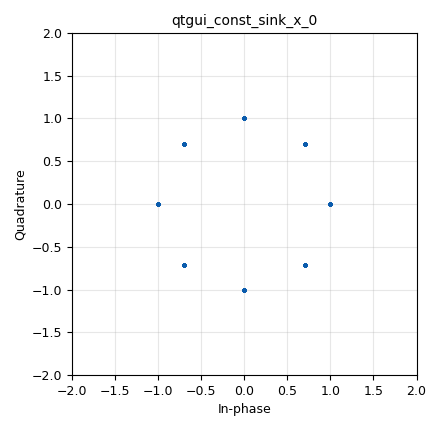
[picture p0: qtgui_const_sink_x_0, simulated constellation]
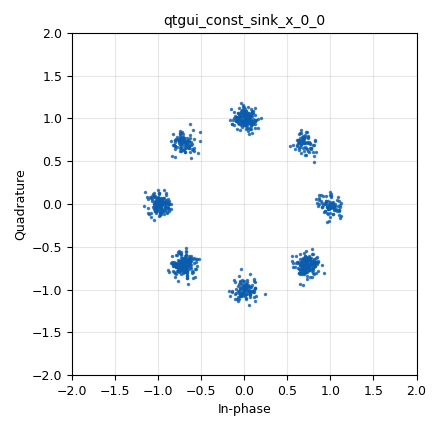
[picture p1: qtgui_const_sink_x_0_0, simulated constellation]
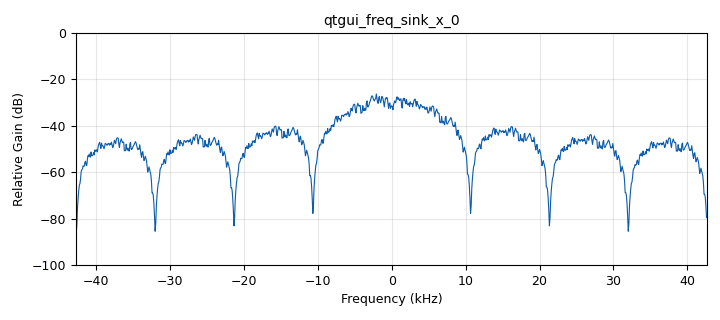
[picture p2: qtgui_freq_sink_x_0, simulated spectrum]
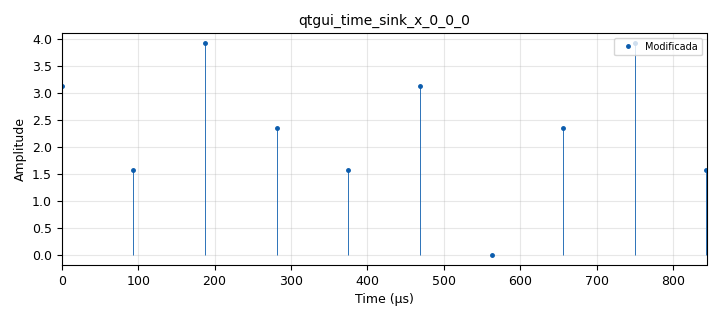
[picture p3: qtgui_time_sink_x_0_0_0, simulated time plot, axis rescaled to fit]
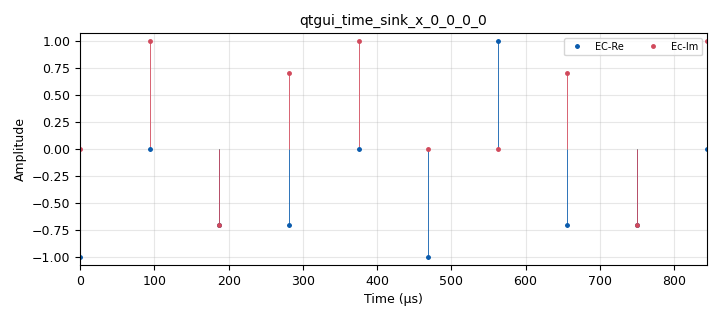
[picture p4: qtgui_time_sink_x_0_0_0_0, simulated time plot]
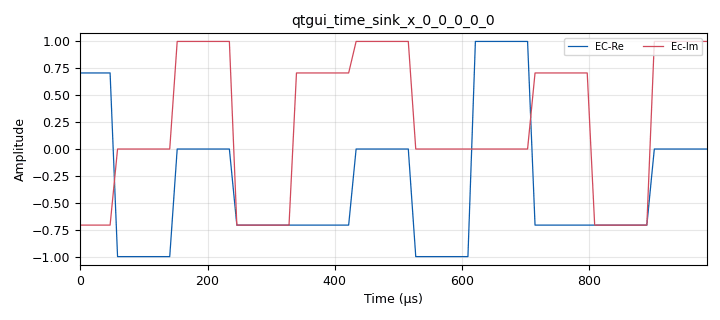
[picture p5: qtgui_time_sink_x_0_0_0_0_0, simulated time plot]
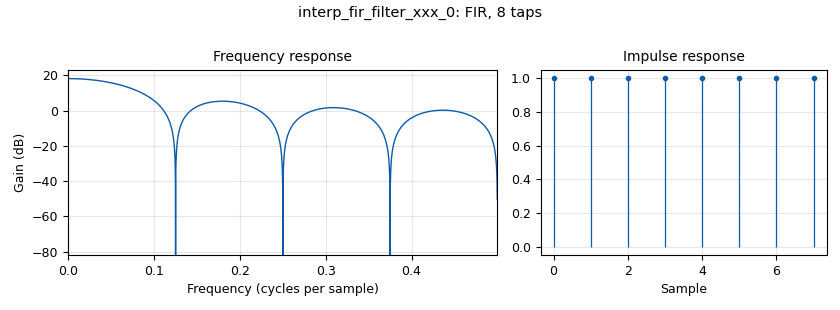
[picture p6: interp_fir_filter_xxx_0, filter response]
options:
  parameters:
    generate_options: qt_gui
    id: Practica_4
    output_language: python
    title: Not titled yet
  states: {}

blocks:
- name: M
  id: variable
  parameters:
    value: '8'
  states: {}
- name: N
  id: variable
  parameters:
    value: '1024'
  states: {}
- name: Nbps
  id: variable
  parameters:
    value: int(math.log(M,2))
  states: {}
- name: Rb
  id: variable
  parameters:
    value: '32000'
  states: {}
- name: Rs
  id: variable
  parameters:
    value: Rb/Nbps
  states: {}
- name: Sps
  id: variable
  parameters:
    value: len(h)
  states: {}
- name: h
  id: variable
  parameters:
    value: np.ones(8)
  states: {}
- name: samp_rate
  id: variable
  parameters:
    value: Rs*Sps
  states: {}
- name: analog_const_source_x_0
  id: analog_const_source_x
  parameters:
    const: '1.'
    type: float
  states: {}
- name: analog_noise_source_x_0
  id: analog_noise_source_x
  parameters:
    amp: '0.1'
    noise_type: analog.GR_GAUSSIAN
    seed: '0'
    type: complex
  states: {}
- name: analog_random_source_x_0
  id: analog_random_source_x
  parameters:
    max: '2'
    min: '0'
    num_samps: '1000'
    repeat: 'True'
    type: byte
  states: {}
- name: blocks_add_xx_0
  id: blocks_add_xx
  parameters:
    type: complex
  states: {}
- name: blocks_char_to_float_0
  id: blocks_char_to_float
  parameters:
    scale: '1'
  states: {state: disabled}
- name: blocks_char_to_float_0_0
  id: blocks_char_to_float
  parameters:
    scale: '1'
  states: {state: disabled}
- name: blocks_char_to_float_1
  id: blocks_char_to_float
  parameters:
    scale: '1'
  states: {}
- name: blocks_complex_to_mag_0
  id: blocks_complex_to_mag
  parameters:
    vlen: '1024'
  states: {}
- name: blocks_multiply_const_vxx_0
  id: blocks_multiply_const_vxx
  parameters:
    const: 2*(math.pi/M)
    type: float
  states: {}
- name: blocks_multiply_xx_0
  id: blocks_multiply_xx
  parameters:
    type: float
    vlen: '1024'
  states: {}
- name: blocks_repack_bits_bb_0
  id: blocks_repack_bits_bb
  parameters:
    endianness: gr.GR_LSB_FIRST
    k: '1'
    l: Nbps
  states: {}
- name: blocks_stream_to_vector_0
  id: blocks_stream_to_vector
  parameters:
    num_items: '1024'
    type: complex
  states: {}
- name: epy_block_0
  id: epy_block
  parameters:
    _source_code: |
      """
      Embedded Python Blocks:

      Each time this file is saved, GRC will instantiate the first class it finds
      to get ports and parameters of your block. The arguments to __init__  will
      be the parameters. All of them are required to have default values!
      """

      import numpy as np
      from gnuradio import gr


      class blk(gr.sync_block):  # other base classes are basic_block, decim_block, interp_block
          """Embedded Python Block example - a simple multiply const"""

          def __init__(self, example_param=1.0):  # only default arguments here
              """arguments to this function show up as parameters in GRC"""
              gr.sync_block.__init__(
                  self,
                  name='e_VCO_fase_fc',   # will show up in GRC
                  in_sig=[np.float32, np.float32],
                  out_sig=[np.complex64]
              )
              # if an attribute with the same name as a parameter is found,
              # a callback is registered (properties work, too).
              self.example_param = example_param

          def work(self, input_items, output_items):
              Q=input_items[0]
              A=input_items[1]
              Sec=output_items[0]
              Sec[:]= A*np.exp(1.j*Q)
              return len(Sec)
    example_param: '1.0'
  states: {}
- name: fft_vxx_0
  id: fft_vxx
  parameters:
    fft_size: '1024'
    forward: 'True'
    shift: 'True'
    type: complex
    window: '[1]*1024'
  states: {}
- name: import_0
  id: import
  parameters:
    imports: import math
  states: {}
- name: import_0_0
  id: import
  parameters:
    imports: import numpy as np
  states: {}
- name: interp_fir_filter_xxx_0
  id: interp_fir_filter_xxx
  parameters:
    interp: Sps
    taps: h
    type: ccc
  states: {}
- name: qtgui_const_sink_x_0
  id: qtgui_const_sink_x
  parameters:
    size: '1024'
    type: complex
  states: {}
- name: qtgui_const_sink_x_0_0
  id: qtgui_const_sink_x
  parameters:
    size: '1024'
    type: complex
  states: {}
- name: qtgui_freq_sink_x_0
  id: qtgui_freq_sink_x
  parameters:
    average: '0.05'
    bw: samp_rate
    fc: '0'
    fftsize: '1024'
    type: complex
    ymax: '0'
    ymin: '-100'
  states: {}
- name: qtgui_time_sink_x_0
  id: qtgui_time_sink_x
  parameters:
    color1: red
    label1: Binaria
    marker1: '0'
    size: '32'
    srate: Rb
    stemplot: 'True'
    type: float
    width1: '3'
  states: {state: disabled}
- name: qtgui_time_sink_x_0_0
  id: qtgui_time_sink_x
  parameters:
    color1: green
    label1: Repack
    marker1: '0'
    size: int(32/Nbps)
    srate: Rs
    stemplot: 'True'
    type: float
    width1: '3'
  states: {state: disabled}
- name: qtgui_time_sink_x_0_0_0
  id: qtgui_time_sink_x
  parameters:
    color1: green
    label1: Modificada
    marker1: '0'
    size: int(32/Nbps)
    srate: Rs
    stemplot: 'True'
    type: float
    width1: '3'
  states: {}
- name: qtgui_time_sink_x_0_0_0_0
  id: qtgui_time_sink_x
  parameters:
    label1: EC-Re
    label2: Ec-Im
    marker1: '0'
    marker2: '0'
    size: int(32/Nbps)
    srate: Rs
    stemplot: 'True'
    type: complex
    width1: '3'
    width2: '3'
  states: {}
- name: qtgui_time_sink_x_0_0_0_0_0
  id: qtgui_time_sink_x
  parameters:
    label1: EC-Re
    label2: Ec-Im
    size: int(32*Sps/Nbps)
    srate: samp_rate
    type: complex
    width1: '3'
    width2: '3'
  states: {}
- name: qtgui_vector_sink_f_0
  id: qtgui_vector_sink_f
  parameters:
    vlen: '1024'
    x_start: '-samp_rate/2'
    x_step: samp_rate/N
  states: {}

connections:
- [analog_const_source_x_0, '0', epy_block_0, '1']
- [analog_noise_source_x_0, '0', blocks_add_xx_0, '1']
- [analog_random_source_x_0, '0', blocks_char_to_float_0, '0']
- [analog_random_source_x_0, '0', blocks_repack_bits_bb_0, '0']
- [blocks_add_xx_0, '0', qtgui_const_sink_x_0_0, '0']
- [blocks_char_to_float_0, '0', qtgui_time_sink_x_0, '0']
- [blocks_char_to_float_0_0, '0', qtgui_time_sink_x_0_0, '0']
- [blocks_char_to_float_1, '0', blocks_multiply_const_vxx_0, '0']
- [blocks_complex_to_mag_0, '0', blocks_multiply_xx_0, '0']
- [blocks_complex_to_mag_0, '0', blocks_multiply_xx_0, '1']
- [blocks_multiply_const_vxx_0, '0', epy_block_0, '0']
- [blocks_multiply_const_vxx_0, '0', qtgui_time_sink_x_0_0_0, '0']
- [blocks_multiply_xx_0, '0', qtgui_vector_sink_f_0, '0']
- [blocks_repack_bits_bb_0, '0', blocks_char_to_float_0_0, '0']
- [blocks_repack_bits_bb_0, '0', blocks_char_to_float_1, '0']
- [blocks_stream_to_vector_0, '0', fft_vxx_0, '0']
- [epy_block_0, '0', interp_fir_filter_xxx_0, '0']
- [epy_block_0, '0', qtgui_const_sink_x_0, '0']
- [epy_block_0, '0', qtgui_time_sink_x_0_0_0_0, '0']
- [fft_vxx_0, '0', blocks_complex_to_mag_0, '0']
- [interp_fir_filter_xxx_0, '0', blocks_add_xx_0, '0']
- [interp_fir_filter_xxx_0, '0', blocks_stream_to_vector_0, '0']
- [interp_fir_filter_xxx_0, '0', qtgui_freq_sink_x_0, '0']
- [interp_fir_filter_xxx_0, '0', qtgui_time_sink_x_0_0_0_0_0, '0']

metadata:
  file_format: 1
  grc_version: v3.10.11.0-89-ga17f69e7
